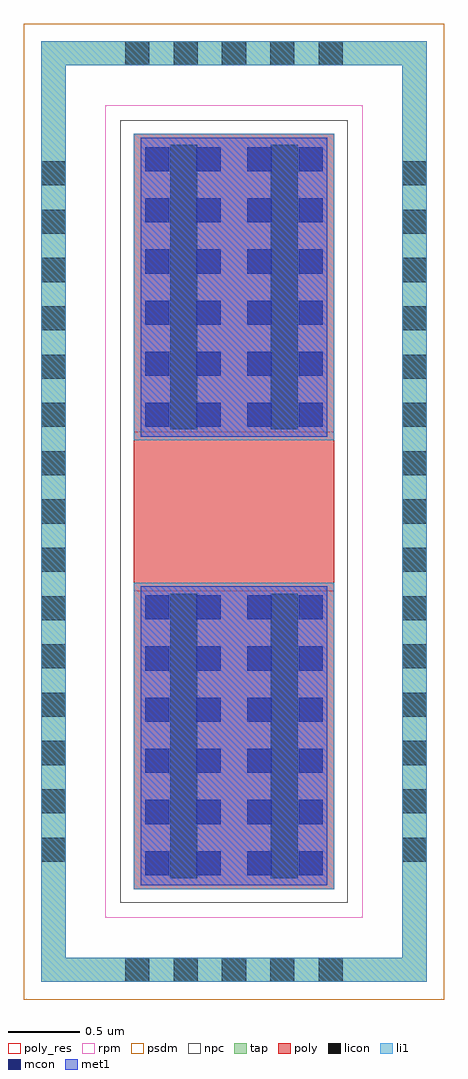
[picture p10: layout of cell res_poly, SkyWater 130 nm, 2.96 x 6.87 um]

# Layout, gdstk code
import gdstk
lib = gdstk.Library(unit=1e-6, precision=5e-09)
def R(c, l, rs):  # rectangles x0, y0, x1, y1
    for r in rs: c.add(gdstk.rectangle(r[:2], r[2:], *l))
def A(c, l, x, y, w, h, nx, ny, dx, dy):  # array of equal rectangles
    R(c, l, [(x+i*dx, y+j*dy, x+i*dx+w, y+j*dy+h) for i in range(nx) for j in range(ny)])
tap = (65, 44)
poly_res = (66, 13)
poly = (66, 20)
licon = (66, 44)
li1 = (67, 20)
mcon = (67, 44)
met1 = (68, 20)
rpm = (86, 20)
psdm = (94, 20)
npc = (95, 20)

res_poly = lib.new_cell('res_poly')
R(res_poly, tap, [(-1.355,-3.31,1.355,-3.14), (-1.355,-3.14,-1.185,3.14), (1.185,-3.14,1.355,3.14), (-1.355,3.14,1.355,3.31)])
R(res_poly, poly_res, [(-0.705,-0.56,0.705,0.56)])
R(res_poly, poly, [(-0.705,-2.66,0.705,2.66)])
A(res_poly, licon, -0.765, -3.31, 0.17, 0.17, 5, 2, 0.34, 6.45)
A(res_poly, licon, -1.355, -2.465, 0.17, 0.17, 1, 15, 0, 0.34)
A(res_poly, licon, 1.185, -2.465, 0.17, 0.17, 1, 15, 0, 0.34)
R(res_poly, licon, [(-0.45,-2.58,-0.26,-0.58), (0.26,-2.58,0.45,-0.58), (-0.45,0.58,-0.26,2.58), (0.26,0.58,0.45,2.58)])
R(res_poly, li1, [(-1.355,-3.31,1.355,-3.14), (-1.355,-3.14,-1.185,3.14), (1.185,-3.14,1.355,3.14), (-0.705,-2.66,0.705,-0.5), (-0.705,0.5,0.705,2.66), (-1.355,3.14,1.355,3.31)])
A(res_poly, mcon, -0.625, -2.56, 0.17, 0.17, 4, 6, 0.36, 0.36)
A(res_poly, mcon, -0.625, 0.595, 0.17, 0.17, 4, 6, 0.36, 0.36)
R(res_poly, met1, [(-0.655,-2.63,0.655,-0.525), (-0.655,0.525,0.655,2.63)])
R(res_poly, rpm, [(-0.905,-2.86,0.905,2.86)])
R(res_poly, psdm, [(-1.48,-3.435,1.48,3.435)])
R(res_poly, npc, [(-0.8,-2.755,0.8,2.755)])

lib.write_gds('res_poly.gds')
